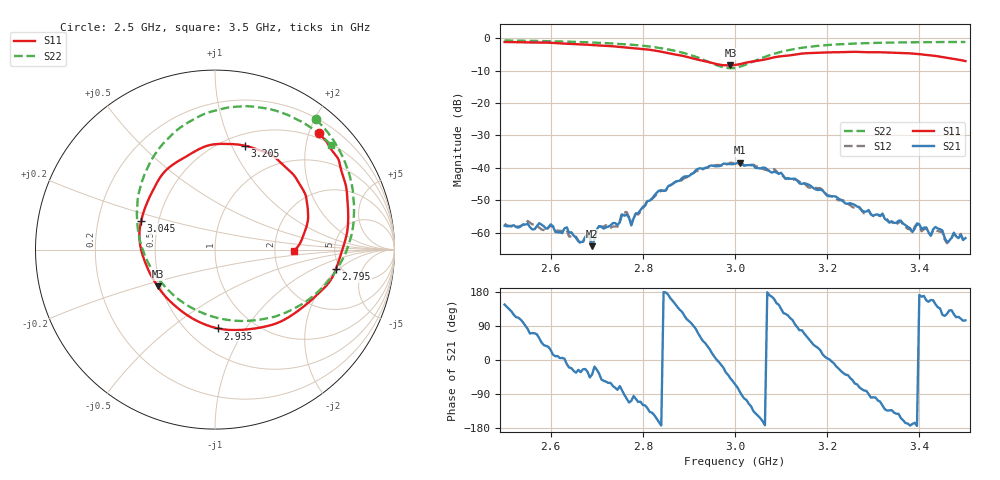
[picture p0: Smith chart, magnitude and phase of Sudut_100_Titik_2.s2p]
# Hz S RI R 50
! CMT, C1220, 16058040, 17.2.0/1
! Date: 15/08/2018 10:49:07
! Data: Format (Calibration Info)
! Freq  S11: Re/Im (F2)  S21: Re/Im (F2)  S12: Re/Im (F2)  S22: Re/Im (F2)
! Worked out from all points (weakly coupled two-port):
!   201 points, 2.5 GHz to 3.5 GHz, reference 50 ohm
!   highest |S21| = -38.38 dB at 3.01 GHz (marker M1); lowest = -64.2 dB at 2.69 GHz (marker M2)
!   lowest |S11| = -8.4 dB at 2.99 GHz (marker M3), VSWR 2.22, Z = 24 - j11.5 ohm
!   |S11| at or under -10 dB: nowhere
!   |S22| runs from -9.3 to -0.7 dB; largest |S21 - S12| = 0.00093
!   S11 on the Smith chart (normalised r, x): 2.5 GHz: 0.41, +2.18; 2.795 GHz: 4.51, -1.84; 2.935 GHz: 0.69, -0.75; 3.045 GHz: 0.40, +0.16; 3.205 GHz: 0.62, +1.12; 3.5 GHz: 2.58, -0.04
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2.5e9  0.581 0.6477  -0.00107 0.000712  -0.00116 0.000722  0.5633 0.7257
2.635e9  0.721 0.3853  0.00119 -0.000231  0.00102 -0.000359  0.7065 0.527
2.67e9  0.7354 0.3097  0.000658 -0.000301  0.000629 -0.000312  0.7366 0.4545
2.68e9  0.7377 0.28  0.000809 -0.000486  0.000748 -0.000467  0.7449 0.4325
2.69e9  0.7401 0.2456  0.000489 -0.000381  0.000496 -0.000385  0.7509 0.4093
2.705e9  0.7422 0.2004  0.00103 -0.000741  0.000991 -0.000729  0.7604 0.3704
2.745e9  0.7324 0.0784  0.000258 -0.00129  0.000395 -0.00117  0.7737 0.2605
2.755e9  0.7229 0.0424  0.000324 -0.00189  0.000491 -0.00201  0.775 0.2307
2.775e9  0.7014 -0.0258  -0.000391 -0.00124  -0.000459 -0.00127  0.7727 0.164
2.795e9  0.6735 -0.1093  -0.000771 -0.0021  -0.000744 -0.00198  0.763 0.0926
2.835e9  0.575 -0.2461  -0.00428 -0.00122  -0.00404 -0.00129  0.7039 -0.0672
2.935e9  0.0149 -0.4392  0.007 0.007  0.00677 0.00733  0.2217 -0.3936
2.99e9  -0.3195 -0.2043  0.00759 -0.00854  0.00809 -0.00886  -0.2118 -0.2708
3e9  -0.3591 -0.1397  0.00504 -0.0103  0.00454 -0.0106  -0.276 -0.2094
3.01e9  -0.3893 -0.0701  0.00152 -0.012  0.00145 -0.0114  -0.332 -0.1412
3.045e9  -0.4112 0.1599  -0.00775 -0.00619  -0.00816 -0.00669  -0.4317 0.1313
3.17e9  0.0328 0.5891  0.00371 0.00318  0.00353 0.00358  -0.0926 0.7401
3.205e9  0.1644 0.579  0.00364 9.64e-05  0.00373 -0.000115  0.0358 0.7837
3.335e9  0.4644 0.3762  -0.000973 -0.00105  -0.00104 -0.00102  0.392 0.7555
3.435e9  0.5124 0.1373  -0.00103 0.000664  -0.000899 0.000624  0.5623 0.6586
3.46e9  0.4909 0.0753  -0.000377 0.000609  -0.000342 0.000598  0.5966 0.6319
3.5e9  0.4419 -0.00593  -0.00021 0.000799  -0.000197 0.000742  0.6438 0.5847
